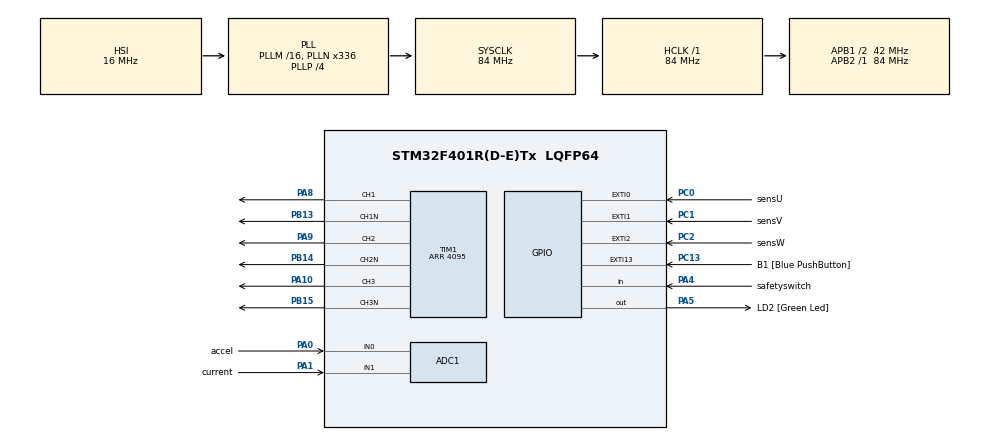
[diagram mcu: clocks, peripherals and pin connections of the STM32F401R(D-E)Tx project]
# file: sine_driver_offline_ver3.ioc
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ADC1.Channel-10\#ChannelRegularConversion=ADC_CHANNEL_1
ADC1.Channel-9\#ChannelRegularConversion=ADC_CHANNEL_0
ADC1.DMAContinuousRequests=ENABLE
ADC1.NbrOfConversion=2
ADC1.NbrOfConversionFlag=1
ADC1.Rank-10\#ChannelRegularConversion=2
ADC1.Rank-9\#ChannelRegularConversion=1
ADC1.SamplingTime-10\#ChannelRegularConversion=ADC_SAMPLETIME_3CYCLES
ADC1.SamplingTime-9\#ChannelRegularConversion=ADC_SAMPLETIME_3CYCLES
ADC1.master=1
Dma.ADC1.0.Direction=DMA_PERIPH_TO_MEMORY
Dma.ADC1.0.FIFOMode=DMA_FIFOMODE_DISABLE
Dma.ADC1.0.Instance=DMA2_Stream0
Dma.ADC1.0.MemDataAlignment=DMA_MDATAALIGN_HALFWORD
Dma.ADC1.0.MemInc=DMA_MINC_ENABLE
Dma.ADC1.0.Mode=DMA_NORMAL
Dma.ADC1.0.PeriphDataAlignment=DMA_PDATAALIGN_HALFWORD
Dma.ADC1.0.PeriphInc=DMA_PINC_DISABLE
Dma.ADC1.0.Priority=DMA_PRIORITY_LOW
Dma.Request0=ADC1
Mcu.Family=STM32F4
Mcu.Name=STM32F401R(D-E)Tx
Mcu.Package=LQFP64
NVIC.DMA2_Stream0_IRQn=true\:0\:0\:false\:false\:true
NVIC.EXTI0_IRQn=true\:0\:0\:false\:false\:true
NVIC.EXTI1_IRQn=true\:0\:0\:false\:false\:true
NVIC.EXTI2_IRQn=true\:0\:0\:false\:false\:true
NVIC.PriorityGroup=NVIC_PRIORITYGROUP_0
NVIC.TIM1_UP_TIM10_IRQn=true\:0\:2\:false\:false\:true
NVIC.TIM2_IRQn=true\:0\:1\:false\:false\:true
PA0-WKUP.GPIO_Label=accel
PA0-WKUP.Signal=ADCx_IN0
PA1.GPIO_Label=current
PA1.Signal=ADCx_IN1
PA10.Signal=S_TIM1_CH3
PA13.GPIO_Label=TMS
PA13.Signal=SYS_JTMS-SWDIO
PA14.GPIO_Label=TCK
PA14.Signal=SYS_JTCK-SWCLK
PA2.GPIO_Label=USART_TX
PA2.GPIO_Mode=GPIO_MODE_AF_PP
PA2.GPIO_PuPd=GPIO_NOPULL
PA2.GPIO_Speed=GPIO_SPEED_FREQ_LOW
PA2.Signal=USART2_TX
PA3.GPIO_Label=USART_RX
PA3.GPIO_Mode=GPIO_MODE_AF_PP
PA3.GPIO_PuPd=GPIO_NOPULL
PA3.GPIO_Speed=GPIO_SPEED_FREQ_LOW
PA3.Signal=USART2_RX
PA4.GPIO_Label=safetyswitch
PA4.GPIO_PuPd=GPIO_PULLUP
PA4.Signal=GPIO_Input
PA5.GPIO_Label=LD2 [Green Led]
PA5.GPIO_Mode=GPIO_MODE_OUTPUT_PP
PA5.GPIO_PuPd=GPIO_NOPULL
PA5.GPIO_Speed=GPIO_SPEED_FREQ_LOW
PA5.Signal=GPIO_Output
PA8.Signal=S_TIM1_CH1
PA9.Signal=S_TIM1_CH2
PB13.Mode=PWM Generation1 CH1 CH1N
PB13.Signal=TIM1_CH1N
PB14.Mode=PWM Generation2 CH2 CH2N
PB14.Signal=TIM1_CH2N
PB15.Mode=PWM Generation3 CH3 CH3N
PB15.Signal=TIM1_CH3N
PB3.Signal=SYS_JTDO-SWO
PC0.GPIO_Label=sensU
PC0.GPIO_ModeDefaultEXTI=GPIO_MODE_IT_RISING_FALLING
PC0.GPIO_PuPd=GPIO_PULLUP
PC0.Signal=GPXTI0
PC1.GPIO_Label=sensV
PC1.GPIO_ModeDefaultEXTI=GPIO_MODE_IT_RISING_FALLING
PC1.GPIO_PuPd=GPIO_PULLUP
PC1.Signal=GPXTI1
PC13-ANTI_TAMP.GPIO_Label=B1 [Blue PushButton]
PC13-ANTI_TAMP.GPIO_ModeDefaultEXTI=GPIO_MODE_IT_FALLING
PC13-ANTI_TAMP.GPIO_PuPd=GPIO_NOPULL
PC13-ANTI_TAMP.Signal=GPXTI13
PC14-OSC32_IN.Signal=RCC_OSC32_IN
PC15-OSC32_OUT.Signal=RCC_OSC32_OUT
PC2.GPIO_Label=sensW
PC2.GPIO_ModeDefaultEXTI=GPIO_MODE_IT_RISING_FALLING
PC2.GPIO_PuPd=GPIO_PULLUP
PC2.Signal=GPXTI2
PH0\ -\ OSC_IN.Signal=RCC_OSC_IN
PH1\ -\ OSC_OUT.Signal=RCC_OSC_OUT
ProjectManager.HeapSize=0x200
ProjectManager.StackSize=0x400
ProjectManager.TargetToolchain=SW4STM32
RCC.AHBFreq_Value=84000000
RCC.APB1CLKDivider=RCC_HCLK_DIV2
RCC.APB1Freq_Value=42000000
RCC.APB1TimFreq_Value=84000000
RCC.APB2Freq_Value=84000000
RCC.APB2TimFreq_Value=84000000
RCC.CortexFreq_Value=84000000
RCC.HCLKFreq_Value=84000000
RCC.HSE_VALUE=8000000
RCC.HSI_VALUE=16000000
RCC.LSE_VALUE=32768
RCC.PLLN=336
RCC.PLLP=RCC_PLLP_DIV4
RCC.PLLQ=7
RCC.SYSCLKFreq_VALUE=84000000
RCC.SYSCLKSource=RCC_SYSCLKSOURCE_PLLCLK
RCC.VCOOutputFreq_Value=336000000
SH.ADCx_IN0.0=ADC1_IN0,IN0
SH.ADCx_IN1.0=ADC1_IN1,IN1
SH.S_TIM1_CH1.0=TIM1_CH1,PWM Generation1 CH1 CH1N
SH.S_TIM1_CH2.0=TIM1_CH2,PWM Generation2 CH2 CH2N
SH.S_TIM1_CH3.0=TIM1_CH3,PWM Generation3 CH3 CH3N
TIM1.Channel-PWM\ Generation1\ CH1\ CH1N=TIM_CHANNEL_1
TIM1.Channel-PWM\ Generation2\ CH2\ CH2N=TIM_CHANNEL_2
TIM1.Channel-PWM\ Generation3\ CH3\ CH3N=TIM_CHANNEL_3
TIM1.CounterMode=TIM_COUNTERMODE_CENTERALIGNED1
TIM1.DeadTime=100
TIM1.Period=4095
TIM1.RepetitionCounter=1
TIM2.Period=8388608
TIM2.Prescaler=0
VP_TIM2_VS_ClockSourceINT.Mode=Internal
VP_TIM2_VS_OPM.Mode=OPM_bit
board=NUCLEO-F401RE

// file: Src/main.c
/**
  ******************************************************************************
  * File Name          : main.c
  * Description        : Main program body
  ******************************************************************************
  ** This notice applies to any and all portions of this file
  * that are not between comment pairs USER CODE BEGIN and
  * USER CODE END. Other portions of this file, whether
  * inserted by the user or by software development tools
  * are owned by their respective copyright owners.
  *
  * COPYRIGHT(c) 2017 STMicroelectronics
  *
  * Redistribution and use in source and binary forms, with or without modification,
  * are permitted provided that the following conditions are met:
  *   1. Redistributions of source code must retain the above copyright notice,
  *      this list of conditions and the following disclaimer.
  *   2. Redistributions in binary form must reproduce the above copyright notice,
  *      this list of conditions and the following disclaimer in the documentation
  *      and/or other materials provided with the distribution.
  *   3. Neither the name of STMicroelectronics nor the names of its contributors
  *      may be used to endorse or promote products derived from this software
  *      without specific prior written permission.
  *
  * THIS SOFTWARE IS PROVIDED BY THE COPYRIGHT HOLDERS AND CONTRIBUTORS "AS IS"
  * AND ANY EXPRESS OR IMPLIED WARRANTIES, INCLUDING, BUT NOT LIMITED TO, THE
  * IMPLIED WARRANTIES OF MERCHANTABILITY AND FITNESS FOR A PARTICULAR PURPOSE ARE
  * DISCLAIMED. IN NO EVENT SHALL THE COPYRIGHT HOLDER OR CONTRIBUTORS BE LIABLE
  * FOR ANY DIRECT, INDIRECT, INCIDENTAL, SPECIAL, EXEMPLARY, OR CONSEQUENTIAL
  * DAMAGES (INCLUDING, BUT NOT LIMITED TO, PROCUREMENT OF SUBSTITUTE GOODS OR
  * SERVICES; LOSS OF USE, DATA, OR PROFITS; OR BUSINESS INTERRUPTION) HOWEVER
  * CAUSED AND ON ANY THEORY OF LIABILITY, WHETHER IN CONTRACT, STRICT LIABILITY,
  * OR TORT (INCLUDING NEGLIGENCE OR OTHERWISE) ARISING IN ANY WAY OUT OF THE USE
  * OF THIS SOFTWARE, EVEN IF ADVISED OF THE POSSIBILITY OF SUCH DAMAGE.
  *
  ******************************************************************************
  */
#include "main.h"
#include "stm32f4xx_hal.h"

ADC_HandleTypeDef hadc1;
DMA_HandleTypeDef hdma_adc1;

TIM_HandleTypeDef htim1;
TIM_HandleTypeDef htim2;

/* USER CODE BEGIN PV */
/* Private variables ---------------------------------------------------------*/
volatile unsigned short* gpioc_idr = (unsigned short*)0x40020810;
volatile unsigned int *ccr1 = (unsigned int*)0x40010034;
volatile unsigned int *ccr2 = (unsigned int*)0x40010038;
volatile unsigned int *ccr3 = (unsigned int*)0x4001003C;
volatile unsigned int* tim2_cr1 = (unsigned int*)0x40000000;
volatile unsigned int* tim2_cnt = (unsigned int*)0x40000024;
volatile unsigned int* tim3_cr1 = (unsigned int*)0x40000400;
volatile unsigned int* tim3_cnt = (unsigned int*)0x40000424;
volatile unsigned int* tim3_psc = (unsigned int*)0x40000428;

int stateangle = 0;
int angleout = 0;
int freq = 0;
int reference = 0;
int drive = 0;
/* USER CODE END PV */

void SystemClock_Config(void);
static void MX_GPIO_Init(void);
static void MX_DMA_Init(void);
static void MX_TIM1_Init(void);
static void MX_TIM2_Init(void);
static void MX_ADC1_Init(void);

void HAL_TIM_MspPostInit(TIM_HandleTypeDef *htim);

/* USER CODE BEGIN PFP */
/* Private function prototypes -----------------------------------------------*/
//int controller_P(int ref);
//int controller_I(int ref, int Pcmd);
int controller_PI(int ref);
/* USER CODE END PFP */

int main(void)
{

  /* MCU Configuration----------------------------------------------------------*/

  /* Reset of all peripherals, Initializes the Flash interface and the Systick. */
  HAL_Init();

  /* Configure the system clock */
  SystemClock_Config();

  /* Initialize all configured peripherals */
  MX_GPIO_Init();
  MX_DMA_Init();
  MX_TIM1_Init();
  MX_TIM2_Init();
  MX_ADC1_Init();

  /* USER CODE BEGIN 2 */
  volatile unsigned int *ccer = (unsigned int*)0x40010020;
  *ccer |= (unsigned int)0x0555;           //ch1,1N,2,2N,3,3N enabled
  __HAL_TIM_ENABLE_IT(&htim1, TIM_IT_UPDATE);
  HAL_TIM_PWM_Start(&htim1,TIM_CHANNEL_1);
  HAL_TIM_PWM_Start(&htim1,TIM_CHANNEL_2);
  HAL_TIM_PWM_Start(&htim1,TIM_CHANNEL_3);
  HAL_TIM_Base_Start_IT(&htim2);

  uint16_t adc_data[2];						//adc_data[0]:accel		adc_data[1]:current
  int accel = 0;
  int current = 0;
  /* USER CODE END 2 */

  /* Infinite loop */
  /* USER CODE BEGIN WHILE */
  while (1)
  {
	  /* A/D function start */
	  if(HAL_ADC_Start_DMA(&hadc1, (uint32_t*)&adc_data, 2) != HAL_OK) {
		  HAL_Delay(500);
		  HAL_ADC_Stop_DMA(&hadc1);
	  }
	  accel = adc_data[0];
	  current = adc_data[1];
	  current -= 2047;
	  current *= 2;
	  /* A/D function end */

	  if(HAL_GPIO_ReadPin((safetyswitch_GPIO_Port,safetyswitch_Pin) == 0) && (accel > 40)) {
		  /* safety switch and accel on */
		  if(drive == 0) {
			  *ccer |= (unsigned int)0x0555;
			  drive = 1;
		  }
		  reference = accel - current;
	  } else {
		  /* safety switch or accel off */
		  if(drive == 1) {
		      *ccer &= (unsigned int)0xFAAA;
			  drive = 0;
		  }
	  }
  /* USER CODE END WHILE */

  }

}

/** System Clock Configuration
*/
void SystemClock_Config(void)
{

  RCC_OscInitTypeDef RCC_OscInitStruct;
  RCC_ClkInitTypeDef RCC_ClkInitStruct;

    /**Configure the main internal regulator output voltage
    */
  __HAL_RCC_PWR_CLK_ENABLE();

  __HAL_PWR_VOLTAGESCALING_CONFIG(PWR_REGULATOR_VOLTAGE_SCALE2);

    /**Initializes the CPU, AHB and APB busses clocks
    */
  RCC_OscInitStruct.OscillatorType = RCC_OSCILLATORTYPE_HSI;
  RCC_OscInitStruct.HSIState = RCC_HSI_ON;
  RCC_OscInitStruct.HSICalibrationValue = 16;
  RCC_OscInitStruct.PLL.PLLState = RCC_PLL_ON;
  RCC_OscInitStruct.PLL.PLLSource = RCC_PLLSOURCE_HSI;
  RCC_OscInitStruct.PLL.PLLM = 16;
  RCC_OscInitStruct.PLL.PLLN = 336;
  RCC_OscInitStruct.PLL.PLLP = RCC_PLLP_DIV4;
  RCC_OscInitStruct.PLL.PLLQ = 7;
  if (HAL_RCC_OscConfig(&RCC_OscInitStruct) != HAL_OK)
  {
    _Error_Handler(__FILE__, __LINE__);
  }

    /**Initializes the CPU, AHB and APB busses clocks
    */
  RCC_ClkInitStruct.ClockType = RCC_CLOCKTYPE_HCLK|RCC_CLOCKTYPE_SYSCLK
                              |RCC_CLOCKTYPE_PCLK1|RCC_CLOCKTYPE_PCLK2;
  RCC_ClkInitStruct.SYSCLKSource = RCC_SYSCLKSOURCE_PLLCLK;
  RCC_ClkInitStruct.AHBCLKDivider = RCC_SYSCLK_DIV1;
  RCC_ClkInitStruct.APB1CLKDivider = RCC_HCLK_DIV2;
  RCC_ClkInitStruct.APB2CLKDivider = RCC_HCLK_DIV1;

  if (HAL_RCC_ClockConfig(&RCC_ClkInitStruct, FLASH_LATENCY_2) != HAL_OK)
  {
    _Error_Handler(__FILE__, __LINE__);
  }

    /**Configure the Systick interrupt time
    */
  HAL_SYSTICK_Config(HAL_RCC_GetHCLKFreq()/1000);

    /**Configure the Systick
    */
  HAL_SYSTICK_CLKSourceConfig(SYSTICK_CLKSOURCE_HCLK);

  /* SysTick_IRQn interrupt configuration */
  HAL_NVIC_SetPriority(SysTick_IRQn, 0, 0);
}

/* ADC1 init function */
static void MX_ADC1_Init(void)
{

  ADC_ChannelConfTypeDef sConfig;

    /**Configure the global features of the ADC (Clock, Resolution, Data Alignment and number of conversion)
    */
  hadc1.Instance = ADC1;
  hadc1.Init.ClockPrescaler = ADC_CLOCK_SYNC_PCLK_DIV4;
  hadc1.Init.Resolution = ADC_RESOLUTION_12B;
  hadc1.Init.ScanConvMode = DISABLE;
  hadc1.Init.ContinuousConvMode = DISABLE;
  hadc1.Init.DiscontinuousConvMode = DISABLE;
  hadc1.Init.ExternalTrigConvEdge = ADC_EXTERNALTRIGCONVEDGE_NONE;
  hadc1.Init.ExternalTrigConv = ADC_SOFTWARE_START;
  hadc1.Init.DataAlign = ADC_DATAALIGN_RIGHT;
  hadc1.Init.NbrOfConversion = 2;
  hadc1.Init.DMAContinuousRequests = ENABLE;
  hadc1.Init.EOCSelection = ADC_EOC_SINGLE_CONV;
  if (HAL_ADC_Init(&hadc1) != HAL_OK)
  {
    _Error_Handler(__FILE__, __LINE__);
  }

    /**Configure for the selected ADC regular channel its corresponding rank in the sequencer and its sample time.
    */
  sConfig.Channel = ADC_CHANNEL_0;
  sConfig.Rank = 1;
  sConfig.SamplingTime = ADC_SAMPLETIME_3CYCLES;
  if (HAL_ADC_ConfigChannel(&hadc1, &sConfig) != HAL_OK)
  {
    _Error_Handler(__FILE__, __LINE__);
  }

    /**Configure for the selected ADC regular channel its corresponding rank in the sequencer and its sample time.
    */
  sConfig.Channel = ADC_CHANNEL_1;
  sConfig.Rank = 2;
  if (HAL_ADC_ConfigChannel(&hadc1, &sConfig) != HAL_OK)
  {
    _Error_Handler(__FILE__, __LINE__);
  }

}

/* TIM1 init function */
static void MX_TIM1_Init(void)
{

  TIM_MasterConfigTypeDef sMasterConfig;
  TIM_OC_InitTypeDef sConfigOC;
  TIM_BreakDeadTimeConfigTypeDef sBreakDeadTimeConfig;

  htim1.Instance = TIM1;
  htim1.Init.Prescaler = 0;
  htim1.Init.CounterMode = TIM_COUNTERMODE_CENTERALIGNED1;
  htim1.Init.Period = 4095;
  htim1.Init.ClockDivision = TIM_CLOCKDIVISION_DIV1;
  htim1.Init.RepetitionCounter = 1;
  if (HAL_TIM_PWM_Init(&htim1) != HAL_OK)
  {
    _Error_Handler(__FILE__, __LINE__);
  }

  sMasterConfig.MasterOutputTrigger = TIM_TRGO_RESET;
  sMasterConfig.MasterSlaveMode = TIM_MASTERSLAVEMODE_DISABLE;
  if (HAL_TIMEx_MasterConfigSynchronization(&htim1, &sMasterConfig) != HAL_OK)
  {
    _Error_Handler(__FILE__, __LINE__);
  }

  sConfigOC.OCMode = TIM_OCMODE_PWM1;
  sConfigOC.Pulse = 0;
  sConfigOC.OCPolarity = TIM_OCPOLARITY_HIGH;
  sConfigOC.OCNPolarity = TIM_OCNPOLARITY_HIGH;
  sConfigOC.OCFastMode = TIM_OCFAST_DISABLE;
  sConfigOC.OCIdleState = TIM_OCIDLESTATE_RESET;
  sConfigOC.OCNIdleState = TIM_OCNIDLESTATE_RESET;
  if (HAL_TIM_PWM_ConfigChannel(&htim1, &sConfigOC, TIM_CHANNEL_1) != HAL_OK)
  {
    _Error_Handler(__FILE__, __LINE__);
  }

  if (HAL_TIM_PWM_ConfigChannel(&htim1, &sConfigOC, TIM_CHANNEL_2) != HAL_OK)
  {
    _Error_Handler(__FILE__, __LINE__);
  }

  if (HAL_TIM_PWM_ConfigChannel(&htim1, &sConfigOC, TIM_CHANNEL_3) != HAL_OK)
  {
    _Error_Handler(__FILE__, __LINE__);
  }

  sBreakDeadTimeConfig.OffStateRunMode = TIM_OSSR_DISABLE;
  sBreakDeadTimeConfig.OffStateIDLEMode = TIM_OSSI_DISABLE;
  sBreakDeadTimeConfig.LockLevel = TIM_LOCKLEVEL_OFF;
  sBreakDeadTimeConfig.DeadTime = 100;
  sBreakDeadTimeConfig.BreakState = TIM_BREAK_DISABLE;
  sBreakDeadTimeConfig.BreakPolarity = TIM_BREAKPOLARITY_HIGH;
  sBreakDeadTimeConfig.AutomaticOutput = TIM_AUTOMATICOUTPUT_DISABLE;
  if (HAL_TIMEx_ConfigBreakDeadTime(&htim1, &sBreakDeadTimeConfig) != HAL_OK)
  {
    _Error_Handler(__FILE__, __LINE__);
  }

  HAL_TIM_MspPostInit(&htim1);

}

/* TIM2 init function */
static void MX_TIM2_Init(void)
{

  TIM_ClockConfigTypeDef sClockSourceConfig;
  TIM_MasterConfigTypeDef sMasterConfig;

  htim2.Instance = TIM2;
  htim2.Init.Prescaler = 0;
  htim2.Init.CounterMode = TIM_COUNTERMODE_UP;
  htim2.Init.Period = 8388608;
  htim2.Init.ClockDivision = TIM_CLOCKDIVISION_DIV1;
  if (HAL_TIM_Base_Init(&htim2) != HAL_OK)
  {
    _Error_Handler(__FILE__, __LINE__);
  }

  sClockSourceConfig.ClockSource = TIM_CLOCKSOURCE_INTERNAL;
  if (HAL_TIM_ConfigClockSource(&htim2, &sClockSourceConfig) != HAL_OK)
  {
    _Error_Handler(__FILE__, __LINE__);
  }

  if (HAL_TIM_OnePulse_Init(&htim2, TIM_OPMODE_SINGLE) != HAL_OK)
  {
    _Error_Handler(__FILE__, __LINE__);
  }

  sMasterConfig.MasterOutputTrigger = TIM_TRGO_RESET;
  sMasterConfig.MasterSlaveMode = TIM_MASTERSLAVEMODE_DISABLE;
  if (HAL_TIMEx_MasterConfigSynchronization(&htim2, &sMasterConfig) != HAL_OK)
  {
    _Error_Handler(__FILE__, __LINE__);
  }

}

static void MX_DMA_Init(void)
{
  /* DMA controller clock enable */
  __HAL_RCC_DMA2_CLK_ENABLE();

  /* DMA interrupt init */
  /* DMA2_Stream0_IRQn interrupt configuration */
  HAL_NVIC_SetPriority(DMA2_Stream0_IRQn, 0, 0);
  HAL_NVIC_EnableIRQ(DMA2_Stream0_IRQn);

}

/** Configure pins as
        * Analog
        * Input
        * Output
        * EVENT_OUT
        * EXTI
     PA2   ------> USART2_TX
     PA3   ------> USART2_RX
*/
static void MX_GPIO_Init(void)
{

  GPIO_InitTypeDef GPIO_InitStruct;

  /* GPIO Ports Clock Enable */
  __HAL_RCC_GPIOC_CLK_ENABLE();
  __HAL_RCC_GPIOH_CLK_ENABLE();
  __HAL_RCC_GPIOA_CLK_ENABLE();
  __HAL_RCC_GPIOB_CLK_ENABLE();

  /*Configure GPIO pin Output Level */
  HAL_GPIO_WritePin(LD2_GPIO_Port, LD2_Pin, GPIO_PIN_RESET);

  /*Configure GPIO pin : B1_Pin */
  GPIO_InitStruct.Pin = B1_Pin;
  GPIO_InitStruct.Mode = GPIO_MODE_IT_FALLING;
  GPIO_InitStruct.Pull = GPIO_NOPULL;
  HAL_GPIO_Init(B1_GPIO_Port, &GPIO_InitStruct);

  /*Configure GPIO pins : sensU_Pin sensV_Pin sensW_Pin */
  GPIO_InitStruct.Pin = sensU_Pin|sensV_Pin|sensW_Pin;
  GPIO_InitStruct.Mode = GPIO_MODE_IT_RISING_FALLING;
  GPIO_InitStruct.Pull = GPIO_PULLUP;
  HAL_GPIO_Init(GPIOC, &GPIO_InitStruct);

  /*Configure GPIO pins : USART_TX_Pin USART_RX_Pin */
  GPIO_InitStruct.Pin = USART_TX_Pin|USART_RX_Pin;
  GPIO_InitStruct.Mode = GPIO_MODE_AF_PP;
  GPIO_InitStruct.Pull = GPIO_NOPULL;
  GPIO_InitStruct.Speed = GPIO_SPEED_FREQ_LOW;
  GPIO_InitStruct.Alternate = GPIO_AF7_USART2;
  HAL_GPIO_Init(GPIOA, &GPIO_InitStruct);

  /*Configure GPIO pin : safetyswitch_Pin */
  GPIO_InitStruct.Pin = safetyswitch_Pin;
  GPIO_InitStruct.Mode = GPIO_MODE_INPUT;
  GPIO_InitStruct.Pull = GPIO_PULLUP;
  HAL_GPIO_Init(safetyswitch_GPIO_Port, &GPIO_InitStruct);

  /*Configure GPIO pin : LD2_Pin */
  GPIO_InitStruct.Pin = LD2_Pin;
  GPIO_InitStruct.Mode = GPIO_MODE_OUTPUT_PP;
  GPIO_InitStruct.Pull = GPIO_NOPULL;
  GPIO_InitStruct.Speed = GPIO_SPEED_FREQ_LOW;
  HAL_GPIO_Init(LD2_GPIO_Port, &GPIO_InitStruct);

  /* EXTI interrupt init*/
  HAL_NVIC_SetPriority(EXTI0_IRQn, 0, 0);
  HAL_NVIC_EnableIRQ(EXTI0_IRQn);

  HAL_NVIC_SetPriority(EXTI1_IRQn, 0, 0);
  HAL_NVIC_EnableIRQ(EXTI1_IRQn);

  HAL_NVIC_SetPriority(EXTI2_IRQn, 0, 0);
  HAL_NVIC_EnableIRQ(EXTI2_IRQn);

}

/* USER CODE BEGIN 4 */
//int controller_P(int ref) {
//	int cmd;
//
//	cmd = ref * KP;
//
//	return cmd;
//}
//
//int controller_I(int ref, int Pcmd) {
//	static long integral = 0;
//	if(drive == 0) integral = 0;
//
//	int cmd, totalcmd;
//
//	cmd = ((integral + ref) >> KIDIV) * KIMUL;
//	totalcmd = cmd + Pcmd;
//	if(totalcmd < 4096 && totalcmd > 0) {
//		integral += ref;
//	}
//
//	return cmd;
//}

int controller_PI(int ref) {
	static long integral = 0;
	if(drive == 0) integral = 0;

	int Pcmd, Icmd, totalcmd;

	Pcmd = ref * KP;

	Icmd = ((integral + ref) >> KIDIV) * KIMUL;
	totalcmd = Pcmd + Icmd;

	/**
	 * saturation observer (houwa obuza-ba-)
	 * when the output PWM saturate, we have to stop the integration to avoid the system's destablization
	 **/
	if(totalcmd >= 4096) {
		totalcmd = 4096;
	} else if(totalcmd <= 0) {
		totalcmd = 0;
	} else {
		integral += ref;
	}

	return totalcmd;
}

void HAL_TIM_PeriodElapsedCallback(TIM_HandleTypeDef* htim) {
	static int Uout[384] = {2048,2106,2164,2222,2280,2338,2396,2453,2511,2568,2626,2683,2740,2797,2853,2910,2966,3022,3078,3133,3188,3243,3298,3352,3405,3459,3512,3565,3617,3669,3720,3771,3822,3838,3854,3870,3885,3899,3913,3927,3940,3953,3965,3976,3987,3998,4008,4017,4026,4035,4043,4050,4057,4063,4069,4074,4078,4083,4086,4089,4092,4094,4095,4096,4096,4096,4095,4094,4092,4089,4086,4083,4078,4074,4069,4063,4057,4050,4043,4035,4026,4017,4008,3998,3987,3976,3965,3953,3940,3927,3913,3899,3885,3870,3854,3838,3822,3838,3854,3870,3885,3899,3913,3927,3940,3953,3965,3976,3987,3998,4008,4017,4026,4035,4043,4050,4057,4063,4069,4074,4078,4083,4086,4089,4092,4094,4095,4096,4096,4096,4095,4094,4092,4089,4086,4083,4078,4074,4069,4063,4057,4050,4043,4035,4026,4017,4008,3998,3987,3976,3965,3953,3940,3927,3913,3899,3885,3870,3854,3838,3822,3771,3720,3669,3617,3565,3512,3459,3405,3352,3298,3243,3188,3133,3078,3022,2966,2910,2853,2797,2740,2683,2626,2568,2511,2453,2396,2338,2280,2222,2164,2106,2048,1990,1932,1874,1816,1758,1700,1643,1585,1528,1470,1413,1356,1299,1243,1186,1130,1074,1018,963,908,853,798,744,691,637,584,531,479,427,376,325,274,258,242,226,211,197,183,169,156,143,131,120,109,98,88,79,70,61,53,46,39,33,27,22,18,13,10,7,4,2,1,0,0,0,1,2,4,7,10,13,18,22,27,33,39,46,53,61,70,79,88,98,109,120,131,143,156,169,183,197,211,226,242,258,274,258,242,226,211,197,183,169,156,143,131,120,109,98,88,79,70,61,53,46,39,33,27,22,18,13,10,7,4,2,1,0,0,0,1,2,4,7,10,13,18,22,27,33,39,46,53,61,70,79,88,98,109,120,131,143,156,169,183,197,211,226,242,258,274,325,376,427,479,531,584,637,691,744,798,853,908,963,1018,1074,1130,1186,1243,1299,1356,1413,1470,1528,1585,1643,1700,1758,1816,1874,1932,1990};
	static int Vout[384] = {4096,4096,4095,4094,4092,4089,4086,4083,4078,4074,4069,4063,4057,4050,4043,4035,4026,4017,4008,3998,3987,3976,3965,3953,3940,3927,3913,3899,3885,3870,3854,3838,3822,3771,3720,3669,3617,3565,3512,3459,3405,3352,3298,3243,3188,3133,3078,3022,2966,2910,2853,2797,2740,2683,2626,2568,2511,2453,2396,2338,2280,2222,2164,2106,2048,1990,1932,1874,1816,1758,1700,1643,1585,1528,1470,1413,1356,1299,1243,1186,1130,1074,1018,963,908,853,798,744,691,637,584,531,479,427,376,325,274,258,242,226,211,197,183,169,156,143,131,120,109,98,88,79,70,61,53,46,39,33,27,22,18,13,10,7,4,2,1,0,0,0,1,2,4,7,10,13,18,22,27,33,39,46,53,61,70,79,88,98,109,120,131,143,156,169,183,197,211,226,242,258,274,258,242,226,211,197,183,169,156,143,131,120,109,98,88,79,70,61,53,46,39,33,27,22,18,13,10,7,4,2,1,0,0,0,1,2,4,7,10,13,18,22,27,33,39,46,53,61,70,79,88,98,109,120,131,143,156,169,183,197,211,226,242,258,274,325,376,427,479,531,584,637,691,744,798,853,908,963,1018,1074,1130,1186,1243,1299,1356,1413,1470,1528,1585,1643,1700,1758,1816,1874,1932,1990,2048,2106,2164,2222,2280,2338,2396,2453,2511,2568,2626,2683,2740,2797,2853,2910,2966,3022,3078,3133,3188,3243,3298,3352,3405,3459,3512,3565,3617,3669,3720,3771,3822,3838,3854,3870,3885,3899,3913,3927,3940,3953,3965,3976,3987,3998,4008,4017,4026,4035,4043,4050,4057,4063,4069,4074,4078,4083,4086,4089,4092,4094,4095,4096,4096,4096,4095,4094,4092,4089,4086,4083,4078,4074,4069,4063,4057,4050,4043,4035,4026,4017,4008,3998,3987,3976,3965,3953,3940,3927,3913,3899,3885,3870,3854,3838,3822,3838,3854,3870,3885,3899,3913,3927,3940,3953,3965,3976,3987,3998,4008,4017,4026,4035,4043,4050,4057,4063,4069,4074,4078,4083,4086,4089,4092,4094,4095,4096};
	static int Wout[384] = {0,0,1,2,4,7,10,13,18,22,27,33,39,46,53,61,70,79,88,98,109,120,131,143,156,169,183,197,211,226,242,258,274,258,242,226,211,197,183,169,156,143,131,120,109,98,88,79,70,61,53,46,39,33,27,22,18,13,10,7,4,2,1,0,0,0,1,2,4,7,10,13,18,22,27,33,39,46,53,61,70,79,88,98,109,120,131,143,156,169,183,197,211,226,242,258,274,325,376,427,479,531,584,637,691,744,798,853,908,963,1018,1074,1130,1186,1243,1299,1356,1413,1470,1528,1585,1643,1700,1758,1816,1874,1932,1990,2048,2106,2164,2222,2280,2338,2396,2453,2511,2568,2626,2683,2740,2797,2853,2910,2966,3022,3078,3133,3188,3243,3298,3352,3405,3459,3512,3565,3617,3669,3720,3771,3822,3838,3854,3870,3885,3899,3913,3927,3940,3953,3965,3976,3987,3998,4008,4017,4026,4035,4043,4050,4057,4063,4069,4074,4078,4083,4086,4089,4092,4094,4095,4096,4096,4096,4095,4094,4092,4089,4086,4083,4078,4074,4069,4063,4057,4050,4043,4035,4026,4017,4008,3998,3987,3976,3965,3953,3940,3927,3913,3899,3885,3870,3854,3838,3822,3838,3854,3870,3885,3899,3913,3927,3940,3953,3965,3976,3987,3998,4008,4017,4026,4035,4043,4050,4057,4063,4069,4074,4078,4083,4086,4089,4092,4094,4095,4096,4096,4096,4095,4094,4092,4089,4086,4083,4078,4074,4069,4063,4057,4050,4043,4035,4026,4017,4008,3998,3987,3976,3965,3953,3940,3927,3913,3899,3885,3870,3854,3838,3822,3771,3720,3669,3617,3565,3512,3459,3405,3352,3298,3243,3188,3133,3078,3022,2966,2910,2853,2797,2740,2683,2626,2568,2511,2453,2396,2338,2280,2222,2164,2106,2048,1990,1932,1874,1816,1758,1700,1643,1585,1528,1470,1413,1356,1299,1243,1186,1130,1074,1018,963,908,853,798,744,691,637,584,531,479,427,376,325,274,258,242,226,211,197,183,169,156,143,131,120,109,98,88,79,70,61,53,46,39,33,27,22,18,13,10,7,4,2,1,0};

	static int startcnt = 0;
	int voltageout = 0;

	if(htim->Instance==TIM1) {
		/*tim1 interrupt*/
		/* PWMout function */
		voltageout = controller_PI(reference);
		*ccr1 = Uout[angleout] * voltageout >> 12;
		*ccr2 = Vout[angleout] * voltageout >> 12;
		*ccr3 = Wout[angleout] * voltageout >> 12;

		/* position estimation */
		int hallsensor = *gpioc_idr & 0b111;
		if(hallsensor == 0) {
			/**
			 * Just when the power is switched on, hallsensor outputs nothing.
			 * Start the motor by this function.
			 **/
			angleout = startcnt >> 17;
			startcnt = (++startcnt % 0x3000000);
		} else {
			angleout = (stateangle + (freq * (*tim2_cnt + 4096) >> 17)) % 384;
		}

	}

	if(htim->Instance==TIM2) {
		/*tim2 interrupt*/
		freq = 0;
	}
}

void HAL_GPIO_EXTI_Callback(uint16_t GPIO_Pin) {
  static int state[] = {0b100, 0b110, 0b010, 0b011, 0b001, 0b101};
//  static int state[] = {0b101, 0b001, 0b011, 0b010, 0b110, 0b100};	//reverse
  static int state_angle[] = {0, 64, 128, 192, 256, 320};
  static int state_num = 0;

  int hallsensor = *gpioc_idr & 0b111;
  if(hallsensor == state[state_num]) {
	  if((*tim2_cr1 & 1) == 1) {			//if tim2 enable
		  freq = 0x800000 / *tim2_cnt;
	  } else {
		  *tim2_cr1 |= 1;				//tim2 start
	  }
	  int temp = state_angle[state_num] + OFFSET;
	  stateangle = temp;
	  angleout = temp;
	  *tim2_cnt = 0;
	  state_num = (++state_num % 6);
  }
}
/* USER CODE END 4 */

void _Error_Handler(char * file, int line)
{
  while(1)
  {
  }
}

/************************ (C) COPYRIGHT STMicroelectronics *****END OF FILE****/
